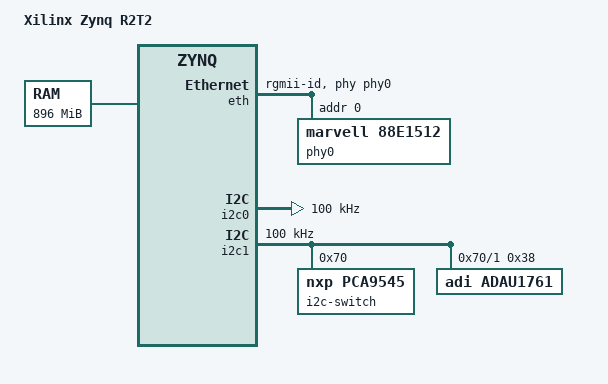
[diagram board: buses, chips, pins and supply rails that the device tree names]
/include/ "zynq.dtsi"

/ {
	model = "Xilinx Zynq R2T2";
	memory {
		device_type = "memory";
		reg = <0x000000000 0x20000000>;
	};

	chosen {
		bootargs = "console=ttyPS0,115200 root=/dev/mmcblk0p2 rw earlyprintk rootfstype=ext4 rootwait";
		linux,stdout-path = "/amba@0/uart@E0001000";
	};

	aliases {
		mio = &axi_gpio_0;
	};

	memory {
		device_type = "memory";
		reg = <0x0 0x38000000>;
	};

    framebuffer0: framebuffer@38000000 {
				  compatible = "simple-framebuffer";
				  reg = <0x38000000 (1280 * 720 * 4)>;
				  width = <1280>;
				  height = <720>;
				  stride = <(1280 * 4)>;
				  format = "a8b8g8r8";
  };
};


&eth {
	phy-handle = <&phy0>;
	phy-mode = "rgmii-id";

	phy0: phy@0 {
		compatible = "marvell,88e1512";
		device_type = "ethernet-phy";
		reg = <0x0>;
		marvell,reg-init=<3 16 0xff00 0x1e 3 17 0xfff0 0x0a>;
	};
};


&i2c0 {
	clock-frequency = <100000>;
	status = "okay";
};

&i2c1 {
	clock-frequency = <100000>;
	status = "okay";

	i2c-switch@74 {
		compatible = "nxp,pca9545";
		#address-cells = <1>;
		#size-cells = <0>;
		reg = <0x70>;

		i2c@1 {
			#address-cells = <1>;
			#size-cells = <0>;
			reg = <1>;

			adau1761: adau1761@38 {
				 compatible = "adi,adau1761";
				 reg = <0x38>;
			};
		};

		i2c@2 {
			#address-cells = <1>;
			#size-cells = <0>;
			reg = <2>;

		};
	};

};

